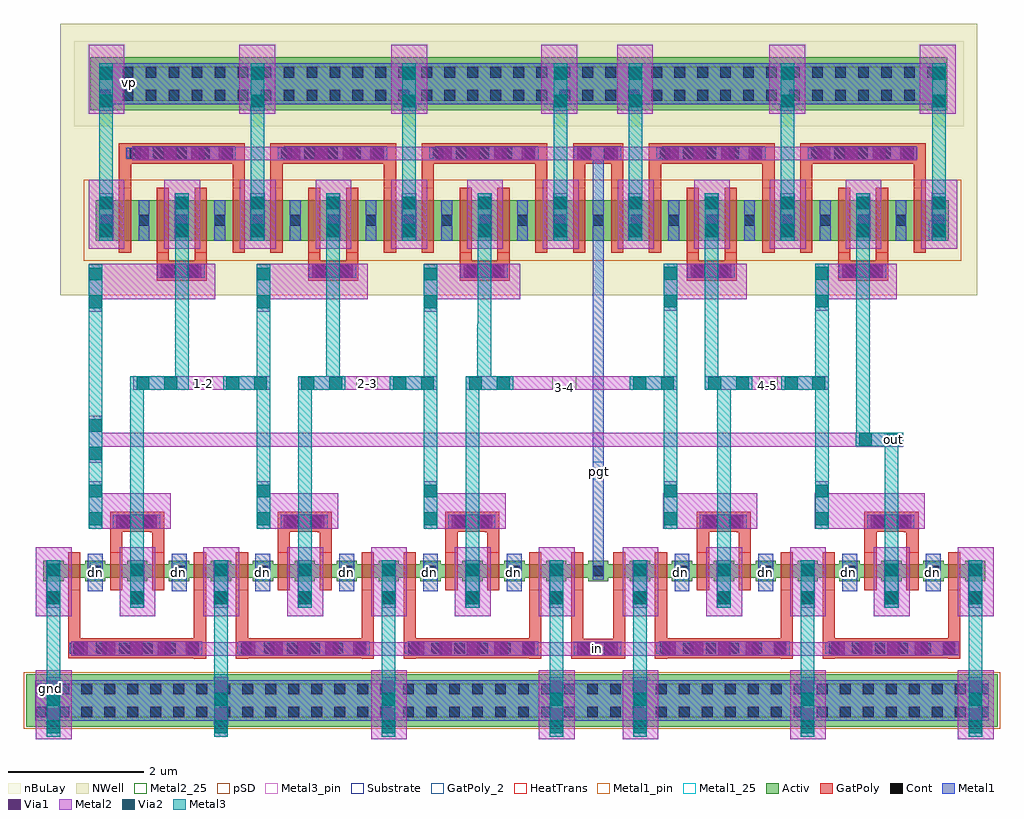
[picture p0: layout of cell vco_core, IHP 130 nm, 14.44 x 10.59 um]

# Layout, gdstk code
from math import pi, radians
import gdstk
lib = gdstk.Library(unit=1e-6, precision=1e-09)
def R(c, l, rs):  # rectangles x0, y0, x1, y1
    for r in rs: c.add(gdstk.rectangle(r[:2], r[2:], *l))
def A(c, l, x, y, w, h, nx, ny, dx, dy):  # array of equal rectangles
    R(c, l, [(x+i*dx, y+j*dy, x+i*dx+w, y+j*dy+h) for i in range(nx) for j in range(ny)])
Activ = (1, 0)
GatPoly = (5, 0)
GatPoly_2 = (5, 2)
Cont = (6, 0)
Metal1 = (8, 0)
Metal1_pin = (8, 2)
Metal1_25 = (8, 25)
Metal2 = (10, 0)
Metal2_25 = (10, 25)
pSD = (14, 0)
Via1 = (19, 0)
Via2 = (29, 0)
Metal3 = (30, 0)
Metal3_pin = (30, 2)
NWell = (31, 0)
nBuLay = (32, 0)
Substrate = (40, 0)
HeatTrans = (51, 0)

pmos = lib.new_cell('pmos')
A(pmos, Activ, 0, 0, 0.3, 0.3, 23, 1, 0.56, 0)
R(pmos, Activ, [(0,0,12.62,0.6)])
A(pmos, GatPoly, 0.34, -0.18, 0.18, 0.96, 22, 1, 0.56, 0)
R(pmos, GatPoly, [(0.34,-0.18,0.52,0.78)])
A(pmos, Cont, 0.07, 0.22, 0.16, 0.16, 23, 1, 0.56, 0)
A(pmos, Metal1, 0.63, 0, 0.16, 0.6, 22, 1, 0.56, 0)
R(pmos, Metal1, [(0.07,0,0.23,0.6), (0.07,0,0.23,0.6), (0.63,0,0.79,0.6)])
R(pmos, pSD, [(-0.18,-0.3,12.8,0.9)])
R(pmos, NWell, [(-0.31,-0.31,12.93,0.91)])
R(pmos, Substrate, [(12.32,0,12.62,0.3)])
A(pmos, HeatTrans, 0.34, -0.18, 0.18, 0.96, 22, 1, 0.56, 0)
pmos.add(gdstk.Label('pmos', (0.43,0.3), layer=63, texttype=0))
pmos.add(gdstk.Label('pmos', (0.43,0.3), layer=51, texttype=0))
pmos.add(gdstk.Label('pmos', (0.99,0.3), layer=51, texttype=0))
pmos.add(gdstk.Label('pmos', (1.55,0.3), layer=51, texttype=0))
pmos.add(gdstk.Label('pmos', (2.11,0.3), layer=51, texttype=0))
pmos.add(gdstk.Label('pmos', (2.67,0.3), layer=51, texttype=0))
pmos.add(gdstk.Label('pmos', (3.23,0.3), layer=51, texttype=0))
pmos.add(gdstk.Label('pmos', (3.79,0.3), layer=51, texttype=0))
pmos.add(gdstk.Label('pmos', (4.35,0.3), layer=51, texttype=0))
pmos.add(gdstk.Label('pmos', (4.91,0.3), layer=51, texttype=0))
pmos.add(gdstk.Label('pmos', (5.47,0.3), layer=51, texttype=0))
pmos.add(gdstk.Label('pmos', (6.03,0.3), layer=51, texttype=0))
pmos.add(gdstk.Label('pmos', (6.59,0.3), layer=51, texttype=0))
pmos.add(gdstk.Label('pmos', (7.15,0.3), layer=51, texttype=0))
pmos.add(gdstk.Label('pmos', (7.71,0.3), layer=51, texttype=0))
pmos.add(gdstk.Label('pmos', (8.27,0.3), layer=51, texttype=0))
pmos.add(gdstk.Label('pmos', (8.83,0.3), layer=51, texttype=0))
pmos.add(gdstk.Label('pmos', (9.39,0.3), layer=51, texttype=0))
pmos.add(gdstk.Label('pmos', (9.95,0.3), layer=51, texttype=0))
pmos.add(gdstk.Label('pmos', (10.51,0.3), layer=51, texttype=0))
pmos.add(gdstk.Label('pmos', (11.07,0.3), layer=51, texttype=0))
pmos.add(gdstk.Label('pmos', (11.63,0.3), layer=51, texttype=0))
pmos.add(gdstk.Label('pmos', (12.19,0.3), layer=51, texttype=0))

nmos = lib.new_cell('nmos')
A(nmos, Activ, 0, 0, 0.3, 0.3, 23, 1, 0.62, 0)
R(nmos, Activ, [(0,0.05,13.94,0.25)])
A(nmos, GatPoly, 0.37, -0.13, 0.18, 0.56, 22, 1, 0.62, 0)
R(nmos, GatPoly_2, [(0.37,-0.13,0.55,0.43)])
A(nmos, Cont, 0.07, 0.07, 0.16, 0.16, 23, 1, 0.62, 0)
A(nmos, Metal1, 0.07, 0.02, 0.16, 0.26, 23, 1, 0.62, 0)
R(nmos, Metal1_pin, [(0.07,0.02,0.23,0.28), (0.69,0.02,0.85,0.28)])
A(nmos, HeatTrans, 0.37, -0.13, 0.18, 0.56, 22, 1, 0.62, 0)
nmos.add(gdstk.Label('nmos', (0.46,0.15), layer=63, texttype=0))
nmos.add(gdstk.Label('nmos', (0.46,0.15), layer=51, texttype=0))
nmos.add(gdstk.Label('nmos', (1.08,0.15), layer=51, texttype=0))
nmos.add(gdstk.Label('nmos', (1.7,0.15), layer=51, texttype=0))
nmos.add(gdstk.Label('nmos', (2.32,0.15), layer=51, texttype=0))
nmos.add(gdstk.Label('nmos', (2.94,0.15), layer=51, texttype=0))
nmos.add(gdstk.Label('nmos', (3.56,0.15), layer=51, texttype=0))
nmos.add(gdstk.Label('nmos', (4.18,0.15), layer=51, texttype=0))
nmos.add(gdstk.Label('nmos', (4.8,0.15), layer=51, texttype=0))
nmos.add(gdstk.Label('nmos', (5.42,0.15), layer=51, texttype=0))
nmos.add(gdstk.Label('nmos', (6.04,0.15), layer=51, texttype=0))
nmos.add(gdstk.Label('nmos', (6.66,0.15), layer=51, texttype=0))
nmos.add(gdstk.Label('nmos', (7.28,0.15), layer=51, texttype=0))
nmos.add(gdstk.Label('nmos', (7.9,0.15), layer=51, texttype=0))
nmos.add(gdstk.Label('nmos', (8.52,0.15), layer=51, texttype=0))
nmos.add(gdstk.Label('nmos', (9.14,0.15), layer=51, texttype=0))
nmos.add(gdstk.Label('nmos', (9.76,0.15), layer=51, texttype=0))
nmos.add(gdstk.Label('nmos', (10.38,0.15), layer=51, texttype=0))
nmos.add(gdstk.Label('nmos', (11,0.15), layer=51, texttype=0))
nmos.add(gdstk.Label('nmos', (11.62,0.15), layer=51, texttype=0))
nmos.add(gdstk.Label('nmos', (12.24,0.15), layer=51, texttype=0))
nmos.add(gdstk.Label('nmos', (12.86,0.15), layer=51, texttype=0))
nmos.add(gdstk.Label('nmos', (13.48,0.15), layer=51, texttype=0))

via_8 = lib.new_cell('Via$8')
R(via_8, GatPoly, [(-0.83,-0.15,0.83,0.15)])
A(via_8, Cont, -0.76, -0.08, 0.16, 0.16, 5, 1, 0.34, 0)
R(via_8, Metal1, [(-0.81,-0.08,0.81,0.08)])

via_9 = lib.new_cell('Via$9')
R(via_9, Metal1, [(-0.76,-0.105,0.76,0.105)])
R(via_9, Metal2, [(-0.76,-0.1,0.76,0.1)])
A(via_9, Via1, -0.71, -0.095, 0.19, 0.19, 4, 1, 0.41, 0)

via_12 = lib.new_cell('Via$12')
R(via_12, Metal1, [(-0.965,-0.105,0.965,0.105)])
R(via_12, Metal2, [(-0.965,-0.1,0.965,0.1)])
A(via_12, Via1, -0.915, -0.095, 0.19, 0.19, 5, 1, 0.41, 0)

via_10 = lib.new_cell('Via$10')
R(via_10, GatPoly, [(-1,-0.15,1,0.15)])
A(via_10, Cont, -0.93, -0.08, 0.16, 0.16, 6, 1, 0.34, 0)
R(via_10, Metal1, [(-0.98,-0.08,0.98,0.08)])

via_4 = lib.new_cell('Via$4')
R(via_4, Metal2, [(-0.35,-0.1,0.35,0.1)])
R(via_4, Via2, [(-0.3,-0.095,-0.11,0.095), (0.11,-0.095,0.3,0.095)])
R(via_4, Metal3, [(-0.35,-0.1,0.35,0.1)])

ntap = lib.new_cell('ntap')
R(ntap, Activ, [(-0.665,-0.22,0.115,0.56)])
R(ntap, Cont, [(-0.525,-0.08,-0.365,0.08), (-0.525,0.26,-0.365,0.42), (-0.185,0.26,-0.025,0.42)])
R(ntap, Metal1, [(-0.525,-0.13,-0.025,0.47)])
R(ntap, Metal1_pin, [(-0.525,-0.08,-0.025,0.42)])
R(ntap, NWell, [(-0.905,-0.46,0.355,0.8)])
R(ntap, nBuLay, [(-0.905,-0.46,0.355,0.8)])

ptap = lib.new_cell('ptap')
R(ptap, Activ, [(-0.425,-1.215,0.355,-0.435)])
R(ptap, Cont, [(-0.285,-1.075,-0.125,-0.915), (0.055,-1.075,0.215,-0.915), (-0.285,-0.735,-0.125,-0.575), (0.055,-0.735,0.215,-0.575)])
R(ptap, Metal1, [(-0.285,-1.125,0.215,-0.525)])
R(ptap, Metal1_pin, [(-0.285,-1.075,0.215,-0.575)])
R(ptap, pSD, [(-0.455,-1.245,0.385,-0.405)])

via_2 = lib.new_cell('Via$2')
R(via_2, Metal1, [(-0.105,-0.35,0.105,0.35)])
R(via_2, Metal2, [(-0.1,-0.35,0.1,0.35)])
R(via_2, Via1, [(-0.095,-0.3,0.095,-0.11), (-0.095,0.11,0.095,0.3)])

via = lib.new_cell('Via')
R(via, GatPoly, [(-0.32,-0.15,0.32,0.15)])
R(via, Cont, [(-0.25,-0.08,-0.09,0.08), (0.09,-0.08,0.25,0.08)])
R(via, Metal1, [(-0.3,-0.08,0.3,0.08)])

via_6 = lib.new_cell('Via$6')
R(via_6, Metal1, [(-0.35,-0.105,0.35,0.105)])
R(via_6, Metal2, [(-0.35,-0.1,0.35,0.1)])
R(via_6, Via1, [(-0.3,-0.095,-0.11,0.095), (0.11,-0.095,0.3,0.095)])

via_15 = lib.new_cell('Via$15')
R(via_15, Metal2, [(-0.1,-0.35,0.1,0.35)])
R(via_15, Via2, [(-0.095,-0.3,0.095,-0.11), (-0.095,0.11,0.095,0.3)])
R(via_15, Metal3, [(-0.1,-0.35,0.1,0.35)])

vco_core = lib.new_cell('vco_core')
A(vco_core, GatPoly, 6.72, -2.3, 0.18, 1.02, 3, 1, 0.62, 0)
A(vco_core, GatPoly, -0.1, -2.22, 0.18, 0.5, 3, 1, 2.48, 0)
A(vco_core, GatPoly, -0.1, -1.72, 0.18, 0.44, 3, 1, 2.48, 0)
A(vco_core, GatPoly, 1.11, -0.425, 0.18, 0.015, 3, 1, 2.48, 0)
A(vco_core, GatPoly, 1.21, 3.295, 0.18, 0.415, 3, 1, 2.24, 0)
A(vco_core, GatPoly, 1.77, 3.295, 0.18, 0.015, 3, 1, 2.24, 0)
A(vco_core, GatPoly, 1.77, 3.31, 0.18, 0.4, 3, 1, 2.24, 0)
A(vco_core, GatPoly, 0.65, 4.915, 0.18, 0.415, 4, 1, 2.24, 0)
A(vco_core, GatPoly, 6.81, 4.915, 0.18, 0.245, 3, 1, 1.68, 0)
A(vco_core, GatPoly, 2.4, 5.16, 0.11, 0.17, 3, 1, 2.24, 0)
R(vco_core, GatPoly, [(1.76,-2.3,1.94,-1.28), (2.38,-2.3,2.56,-1.28), (4.24,-2.3,4.42,-1.28), (4.86,-2.3,5.04,-1.28), (8.58,-2.3,8.76,-1.72), (10.44,-2.3,10.62,-1.28), (11.06,-2.3,11.24,-1.28), (12.92,-2.3,13.1,-1.28), (8.58,-1.72,8.76,-1.28), (0.52,-0.725,0.7,-0.125), (1.14,-0.725,1.32,-0.125), (3,-0.725,3.18,-0.125), (3.62,-0.725,3.8,-0.125), (5.48,-0.725,5.66,-0.125), (6.1,-0.725,6.28,-0.125), (9.2,-0.725,9.38,-0.125), (9.82,-0.725,10,-0.125), (11.68,-0.725,11.86,-0.125), (12.3,-0.725,12.48,-0.125), (9.79,-0.425,9.97,-0.41), (12.27,-0.425,12.45,-0.41), (9.05,3.295,9.23,3.71), (9.61,3.295,9.79,3.31), (11.29,3.295,11.47,3.71), (11.85,3.295,12.03,3.31), (9.61,3.31,9.79,3.71), (11.85,3.31,12.03,3.71), (7.93,4.56,8.11,4.93), (0.65,4.64,0.83,4.915), (2.33,4.64,2.51,4.915), (2.89,4.64,3.07,4.915), (4.57,4.64,4.75,4.915), (5.13,4.64,5.31,4.915), (6.81,4.64,6.99,4.915), (7.37,4.64,7.55,4.915), (8.49,4.64,8.67,4.915), (10.17,4.64,10.35,4.915), (10.73,4.64,10.91,4.915), (12.41,4.64,12.59,4.915), (0.65,4.67,0.83,5.17), (2.33,4.915,2.51,5.16), (2.89,4.915,3.07,5.16), (4.57,4.915,4.75,5.16), (4.57,4.915,4.75,5.16), (5.13,4.915,5.31,5.16), (6.81,4.915,6.99,5.16), (8.49,4.915,8.67,5.33), (10.17,4.915,10.35,5.16), (10.73,4.915,10.91,5.33), (10.73,4.915,10.91,5.16), (12.41,4.915,12.59,5.16), (12.41,4.915,12.59,5.16), (7.93,4.93,8.11,5.33), (7.93,5.03,8.11,5.045), (10.24,5.16,10.35,5.33), (12.48,5.16,12.59,5.33)])
A(vco_core, Metal1, 0.19, -1.3, 0.22, 0.56, 6, 1, 1.24, 0)
A(vco_core, Metal1, 8.87, -1.3, 0.22, 0.56, 4, 1, 1.24, 0)
R(vco_core, Metal1, [(7.66,-0.95,7.82,0.07), (7.66,0.07,7.82,2.65), (7.66,2.65,7.82,3.89), (7.66,4.49,7.82,5.16)])
R(vco_core, Metal1_pin, [(-0.425,-2.805,-0.295,-2.675), (7.665,-2.22,7.795,-2.09), (0.735,6.165,0.865,6.295)])
A(vco_core, Metal1_25, 1.45, -1.13, 0.19, 0.26, 5, 1, 1.24, 0)
R(vco_core, Metal1_25, [(0.22,-1.13,0.41,-0.87), (8.88,-1.13,9.07,-0.87), (10.13,-1.13,10.32,-0.87), (11.36,-1.13,11.55,-0.87), (12.61,-1.13,12.8,-0.87), (7.66,0.36,7.82,0.62)])
A(vco_core, Metal2, -0.58, -1.665, 0.53, 1.02, 12, 1, 1.24, 0)
A(vco_core, Metal2, 0.395, -0.375, 1.02, 0.53, 3, 1, 2.48, 0)
A(vco_core, Metal2, 0.2, 3.77, 0.53, 1.02, 7, 1, 1.12, 0)
A(vco_core, Metal2, 9.16, 3.77, 0.53, 1.02, 4, 1, 1.12, 0)
R(vco_core, Metal2, [(-0.58,-3.49,-0.05,-2.47), (-0.58,-3.49,-0.05,-2.47), (-0.58,-3.49,-0.05,-2.47), (4.38,-3.49,4.91,-2.47), (4.38,-3.49,4.91,-2.47), (4.38,-3.49,4.91,-2.47), (6.86,-3.49,7.39,-2.47), (6.86,-3.49,7.39,-2.47), (6.86,-3.49,7.39,-2.47), (8.1,-3.49,8.63,-2.47), (8.1,-3.49,8.63,-2.47), (8.1,-3.49,8.63,-2.47), (10.58,-3.49,11.11,-2.47), (10.58,-3.49,11.11,-2.47), (10.58,-3.49,11.11,-2.47), (13.06,-3.49,13.59,-2.47), (13.06,-3.49,13.59,-2.47), (13.06,-3.49,13.59,-2.47), (-0.055,-2.25,12.835,-2.05), (5.16,-0.375,5.355,0.14), (8.705,-0.375,8.9,0.14), (8.705,-0.375,9.075,0.155), (9.075,-0.375,10.095,0.155), (10.945,-0.375,11.14,0.14), (10.945,-0.375,11.555,0.155), (11.555,-0.375,12.575,0.155), (0.25,0.84,12.25,1.05), (0.86,1.68,2.12,1.88), (2.12,1.68,2.89,1.88), (3.93,1.68,5.36,1.88), (6.48,1.68,8.355,1.88), (9.32,1.68,11.15,1.88), (0.205,3.02,1.055,3.55), (1.055,3.02,2.075,3.55), (2.695,3.02,3.31,3.55), (3.31,3.02,4.33,3.55), (5.165,3.02,5.57,3.55), (5.57,3.02,6.59,3.55), (8.715,3.02,8.92,3.55), (8.92,3.02,9.94,3.55), (10.955,3.02,11.16,3.55), (11.14,3.02,12.16,3.55), (8.03,3.77,8.56,4.79), (0.85,5.08,12.45,5.28), (0.2,5.77,0.73,6.79), (2.43,5.77,2.96,6.79), (4.68,5.77,5.21,6.79), (6.9,5.77,7.43,6.79), (8.02,5.77,8.55,6.79), (10.27,5.77,10.8,6.79), (12.5,5.77,13.03,6.79)])
R(vco_core, Metal2_25, [(1.76,1.68,2.04,1.88), (4.16,1.68,4.48,1.88), (7.06,1.68,7.418,1.88), (10.12,1.68,10.4,1.88)])
A(vco_core, Metal3, 2.06, -2.63, 0.2, 1.09, 3, 1, 2.48, 0)
A(vco_core, Metal3, 8.26, -2.63, 0.2, 1.09, 3, 1, 2.48, 0)
A(vco_core, Metal3, 0.82, -0.855, 0.2, 1.25, 3, 1, 2.48, 0)
A(vco_core, Metal3, 1.48, 2.65, 0.2, 1.25, 3, 1, 2.24, 0)
A(vco_core, Metal3, 0.36, 4.59, 0.2, 1.25, 4, 1, 2.24, 0)
R(vco_core, Metal3, [(8.26,-3.06,8.46,-2.63), (-0.42,-3.04,-0.22,-1.54), (7.02,-3,7.22,-2.63), (4.54,-2.97,4.74,-2.63), (13.22,-2.895,13.42,-2.63), (10.74,-2.86,10.94,-2.63), (2.06,-2.8,2.26,-2.63), (9.5,-0.855,9.7,0.395), (11.98,-0.855,12.18,0.395), (8.71,0.06,8.91,2.85), (10.95,0.06,11.15,2.85), (0.2,0.33,0.4,1.85), (2.69,0.33,2.89,1.85), (5.16,0.33,5.36,2.84), (0.82,0.395,1.02,1.88), (3.3,0.395,3.5,1.66), (5.78,0.395,5.98,1.68), (9.5,0.395,9.7,1.8), (11.98,0.395,12.18,1.03), (11.56,0.855,11.76,1.685), (3.3,1.66,3.5,1.88), (5.95,1.68,6.16,2.65), (1.48,1.685,1.68,2.65), (11.56,1.685,11.76,2.65), (3.72,1.69,3.92,2.65), (9.32,1.75,9.52,2.65), (0.2,1.76,0.4,2.84), (2.69,1.76,2.89,2.84), (9.32,2.65,9.52,3.9), (11.56,2.65,11.76,3.9), (8.19,4.59,8.39,5.84), (10.44,4.59,10.64,5.84), (12.68,4.59,12.88,5.84)])
R(vco_core, Metal3_pin, [(12.045,0.885,12.175,1.015)])
R(vco_core, NWell, [(-0.22,3.08,13.35,7.1)])
vco_core.add(gdstk.Reference(pmos, (0.31,3.89)))
vco_core.add(gdstk.Reference(nmos, (-0.47,-1.15)))
vco_core.add(gdstk.Reference(via_8, (6.05,5.18)))
vco_core.add(gdstk.Reference(via_9, (6.09,5.18)))
vco_core.add(gdstk.Reference(via_12, (5.89,-2.14)))
vco_core.add(gdstk.Reference(via_10, (5.86,-2.14)))
vco_core.add(gdstk.Reference(via_4, (1.21,1.78)))
vco_core.add(gdstk.Reference(via_4, (3.65,1.78)))
vco_core.add(gdstk.Reference(via_4, (9.67,1.78)))
vco_core.add(gdstk.Reference(via_4, (2.54,1.78)))
vco_core.add(gdstk.Reference(via_4, (5.01,1.78)))
vco_core.add(gdstk.Reference(via_4, (8.56,1.78)))
vco_core.add(gdstk.Reference(via_4, (6.13,1.78)))
vco_core.add(gdstk.Reference(via_4, (10.8,1.78)))
vco_core.add(gdstk.Reference(ntap, (6.33,6.04)))
vco_core.add(gdstk.Reference(ntap, (6.67,6.04)))
vco_core.add(gdstk.Reference(ntap, (7.01,6.04)))
vco_core.add(gdstk.Reference(ntap, (7.35,6.04)))
vco_core.add(gdstk.Reference(ptap, (6.16,-2.09)))
vco_core.add(gdstk.Reference(ptap, (6.5,-2.09)))
vco_core.add(gdstk.Reference(ptap, (6.84,-2.09)))
vco_core.add(gdstk.Reference(via_2, (7.18,4.24)))
vco_core.add(gdstk.Reference(via_8, (9.41,5.18)))
vco_core.add(gdstk.Reference(via_9, (9.45,5.18)))
vco_core.add(gdstk.Reference(via_8, (11.65,5.18)))
vco_core.add(gdstk.Reference(via_9, (11.69,5.18)))
vco_core.add(gdstk.Reference(via, (7.73,5.18)))
vco_core.add(gdstk.Reference(via_6, (7.73,5.18)))
vco_core.add(gdstk.Reference(via_4, (8.29,4.24), rotation=pi/2))
vco_core.add(gdstk.Reference(via_2, (8.29,4.24)))
vco_core.add(gdstk.Reference(via_2, (9.42,4.24)))
vco_core.add(gdstk.Reference(via_4, (9.42,4.24), rotation=pi/2))
vco_core.add(gdstk.Reference(via, (9.41,3.445)))
vco_core.add(gdstk.Reference(via_15, (8.81,3.2)))
vco_core.add(gdstk.Reference(via_6, (9.41,3.445)))
vco_core.add(gdstk.Reference(via_4, (10.54,4.24), rotation=pi/2))
vco_core.add(gdstk.Reference(via_15, (11.05,3.2)))
vco_core.add(gdstk.Reference(via_2, (10.54,4.24)))
vco_core.add(gdstk.Reference(via_2, (11.66,4.24)))
vco_core.add(gdstk.Reference(via_4, (11.66,4.24), rotation=pi/2))
vco_core.add(gdstk.Reference(via, (11.65,3.445)))
vco_core.add(gdstk.Reference(via_6, (11.65,3.445)))
vco_core.add(gdstk.Reference(ntap, (7.69,6.04)))
vco_core.add(gdstk.Reference(ntap, (8.03,6.04)))
vco_core.add(gdstk.Reference(ntap, (8.37,6.04)))
vco_core.add(gdstk.Reference(ntap, (8.71,6.04)))
vco_core.add(gdstk.Reference(ntap, (9.05,6.04)))
vco_core.add(gdstk.Reference(ntap, (9.39,6.04)))
vco_core.add(gdstk.Reference(ntap, (9.73,6.04)))
vco_core.add(gdstk.Reference(ntap, (10.07,6.04)))
vco_core.add(gdstk.Reference(ntap, (10.41,6.04)))
vco_core.add(gdstk.Reference(ntap, (10.75,6.04)))
vco_core.add(gdstk.Reference(ntap, (11.09,6.04)))
vco_core.add(gdstk.Reference(ntap, (11.43,6.04)))
vco_core.add(gdstk.Reference(ntap, (11.77,6.04)))
vco_core.add(gdstk.Reference(ntap, (12.11,6.04)))
vco_core.add(gdstk.Reference(ntap, (12.45,6.04)))
vco_core.add(gdstk.Reference(ntap, (12.79,6.04)))
vco_core.add(gdstk.Reference(via_15, (7.18,6.16)))
vco_core.add(gdstk.Reference(via_2, (7.18,6.16)))
vco_core.add(gdstk.Reference(via_15, (8.29,6.16)))
vco_core.add(gdstk.Reference(via_2, (8.29,6.16)))
vco_core.add(gdstk.Reference(via_15, (10.54,6.16)))
vco_core.add(gdstk.Reference(via_2, (10.54,6.16)))
vco_core.add(gdstk.Reference(via_15, (12.78,6.16)))
vco_core.add(gdstk.Reference(via_2, (12.78,6.16)))
vco_core.add(gdstk.Reference(via_4, (12.78,4.24), rotation=pi/2))
vco_core.add(gdstk.Reference(via_2, (12.78,4.24)))
vco_core.add(gdstk.Reference(via_4, (7.18,4.24), rotation=pi/2))
vco_core.add(gdstk.Reference(ntap, (2.25,6.04)))
vco_core.add(gdstk.Reference(ntap, (2.59,6.04)))
vco_core.add(gdstk.Reference(ntap, (2.93,6.04)))
vco_core.add(gdstk.Reference(ntap, (3.27,6.04)))
vco_core.add(gdstk.Reference(ntap, (3.61,6.04)))
vco_core.add(gdstk.Reference(ntap, (3.95,6.04)))
vco_core.add(gdstk.Reference(ntap, (4.29,6.04)))
vco_core.add(gdstk.Reference(ntap, (4.63,6.04)))
vco_core.add(gdstk.Reference(ntap, (4.97,6.04)))
vco_core.add(gdstk.Reference(ntap, (5.31,6.04)))
vco_core.add(gdstk.Reference(ntap, (5.65,6.04)))
vco_core.add(gdstk.Reference(ntap, (5.99,6.04)))
vco_core.add(gdstk.Reference(via_8, (3.81,5.18)))
vco_core.add(gdstk.Reference(via_9, (3.85,5.18)))
vco_core.add(gdstk.Reference(via, (3.81,3.445)))
vco_core.add(gdstk.Reference(via_2, (3.82,4.24)))
vco_core.add(gdstk.Reference(via_6, (1.57,3.445)))
vco_core.add(gdstk.Reference(via, (1.57,3.445)))
vco_core.add(gdstk.Reference(via_2, (2.7,4.24)))
vco_core.add(gdstk.Reference(via_4, (2.7,4.24), rotation=pi/2))
vco_core.add(gdstk.Reference(via_4, (0.46,4.24), rotation=pi/2))
vco_core.add(gdstk.Reference(via_2, (0.46,4.24)))
vco_core.add(gdstk.Reference(via_4, (3.82,4.24), rotation=pi/2))
vco_core.add(gdstk.Reference(via_6, (3.81,3.445)))
vco_core.add(gdstk.Reference(via_2, (6.06,4.24)))
vco_core.add(gdstk.Reference(via_4, (6.06,4.24), rotation=pi/2))
vco_core.add(gdstk.Reference(via_4, (4.94,4.24), rotation=pi/2))
vco_core.add(gdstk.Reference(via_15, (2.79,3.19)))
vco_core.add(gdstk.Reference(via_2, (4.94,4.24)))
vco_core.add(gdstk.Reference(via, (6.05,3.445)))
vco_core.add(gdstk.Reference(via_15, (5.26,3.19)))
vco_core.add(gdstk.Reference(via_6, (6.05,3.445)))
vco_core.add(gdstk.Reference(via_15, (2.7,6.16)))
vco_core.add(gdstk.Reference(via_2, (2.7,6.16)))
vco_core.add(gdstk.Reference(via_15, (4.94,6.16)))
vco_core.add(gdstk.Reference(via_2, (4.94,6.16)))
vco_core.add(gdstk.Reference(via_2, (1.58,4.24)))
vco_core.add(gdstk.Reference(via_4, (1.58,4.24), rotation=pi/2))
vco_core.add(gdstk.Reference(via_8, (1.57,5.18)))
vco_core.add(gdstk.Reference(via_9, (1.61,5.18)))
vco_core.add(gdstk.Reference(via_15, (0.3,3.19)))
vco_core.add(gdstk.Reference(via_15, (0.46,6.16)))
vco_core.add(gdstk.Reference(via_2, (0.46,6.16)))
vco_core.add(gdstk.Reference(ntap, (0.89,6.04)))
vco_core.add(gdstk.Reference(ntap, (1.23,6.04)))
vco_core.add(gdstk.Reference(ntap, (1.57,6.04)))
vco_core.add(gdstk.Reference(ntap, (1.91,6.04)))
vco_core.add(gdstk.Reference(via_15, (0.3,-0.02)))
vco_core.add(gdstk.Reference(via_2, (5.88,-1.19)))
vco_core.add(gdstk.Reference(via_4, (-0.32,-1.19), rotation=pi/2))
vco_core.add(gdstk.Reference(via_2, (4.64,-1.19)))
vco_core.add(gdstk.Reference(via_4, (4.64,-1.19), rotation=pi/2))
vco_core.add(gdstk.Reference(via, (0.91,-0.27)))
vco_core.add(gdstk.Reference(via_6, (0.91,-0.27)))
vco_core.add(gdstk.Reference(via, (3.39,-0.27)))
vco_core.add(gdstk.Reference(via_6, (3.39,-0.27)))
vco_core.add(gdstk.Reference(via_6, (5.87,-0.27)))
vco_core.add(gdstk.Reference(via, (5.87,-0.27)))
vco_core.add(gdstk.Reference(via_2, (-0.32,-1.19)))
vco_core.add(gdstk.Reference(via_4, (0.92,-1.19), rotation=pi/2))
vco_core.add(gdstk.Reference(via_2, (0.92,-1.19)))
vco_core.add(gdstk.Reference(via_4, (2.16,-1.19), rotation=pi/2))
vco_core.add(gdstk.Reference(via_2, (2.16,-1.19)))
vco_core.add(gdstk.Reference(via_15, (2.79,-0.02)))
vco_core.add(gdstk.Reference(via_15, (5.26,-0.02)))
vco_core.add(gdstk.Reference(via_4, (3.4,-1.19), rotation=pi/2))
vco_core.add(gdstk.Reference(via_2, (3.4,-1.19)))
vco_core.add(gdstk.Reference(via_10, (0.9,-2.14)))
vco_core.add(gdstk.Reference(via_10, (3.38,-2.14)))
vco_core.add(gdstk.Reference(via_12, (0.91,-2.14)))
vco_core.add(gdstk.Reference(via_12, (3.39,-2.14)))
vco_core.add(gdstk.Reference(via_15, (-0.32,-3.1)))
vco_core.add(gdstk.Reference(via_2, (-0.32,-2.92)))
vco_core.add(gdstk.Reference(ptap, (0.04,-2.09)))
vco_core.add(gdstk.Reference(ptap, (0.38,-2.09)))
vco_core.add(gdstk.Reference(ptap, (0.72,-2.09)))
vco_core.add(gdstk.Reference(ptap, (1.06,-2.09)))
vco_core.add(gdstk.Reference(ptap, (1.4,-2.09)))
vco_core.add(gdstk.Reference(ptap, (1.74,-2.09)))
vco_core.add(gdstk.Reference(ptap, (2.08,-2.09)))
vco_core.add(gdstk.Reference(ptap, (2.76,-2.09)))
vco_core.add(gdstk.Reference(ptap, (3.1,-2.09)))
vco_core.add(gdstk.Reference(ptap, (3.44,-2.09)))
vco_core.add(gdstk.Reference(ptap, (3.78,-2.09)))
vco_core.add(gdstk.Reference(ptap, (4.12,-2.09)))
vco_core.add(gdstk.Reference(ptap, (4.46,-2.09)))
vco_core.add(gdstk.Reference(ptap, (4.8,-2.09)))
vco_core.add(gdstk.Reference(ptap, (5.14,-2.09)))
vco_core.add(gdstk.Reference(ptap, (5.48,-2.09)))
vco_core.add(gdstk.Reference(ptap, (5.82,-2.09)))
vco_core.add(gdstk.Reference(ptap, (-0.3,-2.09)))
vco_core.add(gdstk.Reference(via_15, (0.3,0.95)))
vco_core.add(gdstk.Reference(via_4, (5.88,-1.19), rotation=pi/2))
vco_core.add(gdstk.Reference(via_2, (2.16,-2.92)))
vco_core.add(gdstk.Reference(via_15, (2.16,-3.1)))
vco_core.add(gdstk.Reference(via_2, (2.16,-2.92)))
vco_core.add(gdstk.Reference(via_15, (2.16,-3.1)))
vco_core.add(gdstk.Reference(ptap, (2.42,-2.09)))
vco_core.add(gdstk.Reference(via_15, (4.64,-3.1)))
vco_core.add(gdstk.Reference(via_2, (4.64,-2.92)))
vco_core.add(gdstk.Reference(via_6, (12.07,-0.27)))
vco_core.add(gdstk.Reference(via_12, (9.61,-2.14)))
vco_core.add(gdstk.Reference(via_10, (9.58,-2.14)))
vco_core.add(gdstk.Reference(via_12, (12.11,-2.14)))
vco_core.add(gdstk.Reference(via_4, (11.9,0.95)))
vco_core.add(gdstk.Reference(via_10, (12.08,-2.14)))
vco_core.add(gdstk.Reference(via_6, (7.73,-2.15)))
vco_core.add(gdstk.Reference(via_2, (10.84,-1.19)))
vco_core.add(gdstk.Reference(via_4, (10.84,-1.19), rotation=pi/2))
vco_core.add(gdstk.Reference(via_2, (12.08,-1.19)))
vco_core.add(gdstk.Reference(via_15, (8.81,-0.02)))
vco_core.add(gdstk.Reference(via_4, (12.08,-1.19), rotation=pi/2))
vco_core.add(gdstk.Reference(via_4, (7.12,-1.19), rotation=pi/2))
vco_core.add(gdstk.Reference(via_2, (7.12,-1.19)))
vco_core.add(gdstk.Reference(via_4, (8.36,-1.19), rotation=pi/2))
vco_core.add(gdstk.Reference(via_15, (11.05,-0.02)))
vco_core.add(gdstk.Reference(via_2, (8.36,-1.19)))
vco_core.add(gdstk.Reference(via_2, (9.6,-1.19)))
vco_core.add(gdstk.Reference(ptap, (7.18,-2.09)))
vco_core.add(gdstk.Reference(ptap, (7.52,-2.09)))
vco_core.add(gdstk.Reference(ptap, (7.86,-2.09)))
vco_core.add(gdstk.Reference(ptap, (8.2,-2.09)))
vco_core.add(gdstk.Reference(ptap, (12.28,-2.09)))
vco_core.add(gdstk.Reference(ptap, (11.94,-2.09)))
vco_core.add(gdstk.Reference(ptap, (11.6,-2.09)))
vco_core.add(gdstk.Reference(ptap, (11.26,-2.09)))
vco_core.add(gdstk.Reference(ptap, (10.92,-2.09)))
vco_core.add(gdstk.Reference(ptap, (10.58,-2.09)))
vco_core.add(gdstk.Reference(ptap, (10.24,-2.09)))
vco_core.add(gdstk.Reference(ptap, (9.9,-2.09)))
vco_core.add(gdstk.Reference(ptap, (9.56,-2.09)))
vco_core.add(gdstk.Reference(ptap, (9.22,-2.09)))
vco_core.add(gdstk.Reference(ptap, (8.88,-2.09)))
vco_core.add(gdstk.Reference(ptap, (8.54,-2.09)))
vco_core.add(gdstk.Reference(ptap, (12.62,-2.09)))
vco_core.add(gdstk.Reference(ptap, (12.96,-2.09)))
vco_core.add(gdstk.Reference(ptap, (13.3,-2.09)))
vco_core.add(gdstk.Reference(via_4, (9.6,-1.19), rotation=pi/2))
vco_core.add(gdstk.Reference(via_2, (13.32,-1.19)))
vco_core.add(gdstk.Reference(via_4, (13.32,-1.19), rotation=pi/2))
vco_core.add(gdstk.Reference(via, (7.73,-2.15)))
vco_core.add(gdstk.Reference(via, (9.59,-0.27)))
vco_core.add(gdstk.Reference(via_6, (9.59,-0.27)))
vco_core.add(gdstk.Reference(via, (12.07,-0.27)))
vco_core.add(gdstk.Reference(via_15, (7.12,-3.1)))
vco_core.add(gdstk.Reference(via_2, (7.12,-2.92)))
vco_core.add(gdstk.Reference(via_15, (8.36,-3.1)))
vco_core.add(gdstk.Reference(via_2, (8.36,-2.92)))
vco_core.add(gdstk.Reference(via_15, (10.84,-3.1)))
vco_core.add(gdstk.Reference(via_2, (10.84,-2.92)))
vco_core.add(gdstk.Reference(via_15, (13.32,-3.1)))
vco_core.add(gdstk.Reference(via_2, (13.32,-2.92)))
vco_core.add(gdstk.Label('out', (12.11,0.95), layer=30, texttype=25))
vco_core.add(gdstk.Label('gnd', (-0.36,-2.74), layer=8, texttype=25))
vco_core.add(gdstk.Label('vp', (0.8,6.23), layer=8, texttype=25))
vco_core.add(gdstk.Label('in', (7.73,-2.15), layer=8, texttype=25))
vco_core.add(gdstk.Label('pgt', (7.76,0.47), layer=8, texttype=25))
vco_core.add(gdstk.Label('dn', (0.3,-1.02), layer=8, texttype=25))
vco_core.add(gdstk.Label('dn', (1.53,-1.02), layer=8, texttype=25))
vco_core.add(gdstk.Label('dn', (2.77,-1.02), layer=8, texttype=25))
vco_core.add(gdstk.Label('dn', (4.01,-1.02), layer=8, texttype=25))
vco_core.add(gdstk.Label('dn', (5.25,-1.02), layer=8, texttype=25))
vco_core.add(gdstk.Label('dn', (6.49,-1.02), layer=8, texttype=25))
vco_core.add(gdstk.Label('dn', (8.96,-1.02), layer=8, texttype=25))
vco_core.add(gdstk.Label('dn', (10.21,-1.02), layer=8, texttype=25))
vco_core.add(gdstk.Label('dn', (11.44,-1.02), layer=8, texttype=25))
vco_core.add(gdstk.Label('dn', (12.69,-1.02), layer=8, texttype=25))
vco_core.add(gdstk.Label('1-2', (1.9,1.78), layer=10, texttype=25))
vco_core.add(gdstk.Label('2-3', (4.32,1.78), layer=10, texttype=25))
vco_core.add(gdstk.Label('3-4', (7.24,1.72), layer=10, texttype=25))
vco_core.add(gdstk.Label('4-5', (10.24,1.75), layer=10, texttype=25))

lib.write_gds('vco_core.gds')
